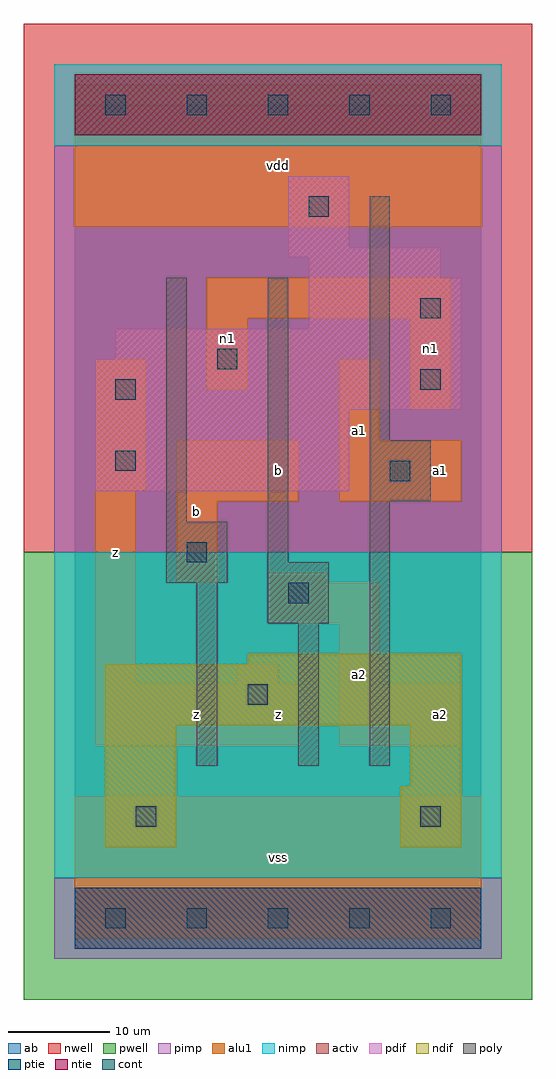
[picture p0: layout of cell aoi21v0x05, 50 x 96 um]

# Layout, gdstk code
import gdstk
lib = gdstk.Library(unit=1e-6, precision=1e-09)
def R(c, l, rs):  # rectangles x0, y0, x1, y1
    for r in rs: c.add(gdstk.rectangle(r[:2], r[2:], *l))
def A(c, l, x, y, w, h, nx, ny, dx, dy):  # array of equal rectangles
    R(c, l, [(x+i*dx, y+j*dy, x+i*dx+w, y+j*dy+h) for i in range(nx) for j in range(ny)])
ndif = (3, 0)
pdif = (4, 0)
ntie = (5, 0)
ptie = (6, 0)
cont = (25, 0)
pwell = (41, 0)
nwell = (42, 0)
activ = (43, 0)
pimp = (44, 0)
nimp = (45, 0)
poly = (46, 0)
alu1 = (49, 0)
ab = (63, 0)

aoi21v0x05 = lib.new_cell('aoi21v0x05')
R(aoi21v0x05, ndif, [(3,7,10,19), (32,7,38,13), (33,13,38,19), (3,19,38,25), (17,25,38,26)])
R(aoi21v0x05, pdif, [(2,42,27,50), (2,50,38,55), (4,55,38,58), (23,58,38,63), (23,63,36,65), (21,65,36,66), (21,66,27,73)])
R(aoi21v0x05, ntie, [(0,77,40,83)])
R(aoi21v0x05, ptie, [(0,-3,40,3)])
A(aoi21v0x05, cont, 3, -1, 2, 2, 5, 2, 8, 80)
R(aoi21v0x05, cont, [(6,9,8,11), (34,9,36,11), (17,21,19,23), (21,31,23,33), (11,35,13,37), (31,43,33,45), (4,44,6,46), (4,51,6,53), (34,52,36,54), (14,54,16,56), (34,59,36,61), (23,69,25,71)])
R(aoi21v0x05, pwell, [(-5,-8,45,36)])
R(aoi21v0x05, nwell, [(-5,36,45,88)])
R(aoi21v0x05, activ, [(0,-3,40,3), (3,7,10,19), (32,7,38,13), (33,13,38,19), (3,19,38,25), (17,25,38,26), (2,42,27,50), (2,50,38,55), (4,55,38,58), (23,58,38,63), (23,63,36,65), (21,65,36,66), (21,66,27,73), (0,77,40,83)])
R(aoi21v0x05, pimp, [(-2,-4,42,4), (-2,36,42,76)])
R(aoi21v0x05, nimp, [(-2,4,42,36), (-2,76,42,84)])
R(aoi21v0x05, poly, [(12,15,14,33), (22,15,24,29), (29,15,31,41), (19,29,25,35), (9,33,15,39), (19,35,21,63), (9,39,11,63), (29,41,35,47), (29,47,31,71)])
R(aoi21v0x05, alu1, [(0,-2,40,12), (2,17,22,23), (26,17,38,23), (2,23,6,42), (16,23,20,25), (26,23,30,29), (19,29,30,33), (10,33,14,41), (19,33,25,34), (10,41,22,47), (26,41,38,47), (2,42,7,55), (26,47,30,55), (33,50,37,59), (13,52,17,59), (13,59,37,63), (0,68,40,82)])
R(aoi21v0x05, ab, [(0,0,40,80)])
aoi21v0x05.add(gdstk.Label('n1', (15,57), layer=49, texttype=0))
aoi21v0x05.add(gdstk.Label('n1', (35,56), layer=49, texttype=0))
aoi21v0x05.add(gdstk.Label('z', (4,36), layer=49, texttype=0))
aoi21v0x05.add(gdstk.Label('z', (12,20), layer=49, texttype=0))
aoi21v0x05.add(gdstk.Label('b', (12,40), layer=49, texttype=0))
aoi21v0x05.add(gdstk.Label('vss', (20,6), layer=49, texttype=0))
aoi21v0x05.add(gdstk.Label('z', (20,20), layer=49, texttype=0))
aoi21v0x05.add(gdstk.Label('a2', (28,24), layer=49, texttype=0))
aoi21v0x05.add(gdstk.Label('b', (20,44), layer=49, texttype=0))
aoi21v0x05.add(gdstk.Label('a1', (28,48), layer=49, texttype=0))
aoi21v0x05.add(gdstk.Label('vdd', (20,74), layer=49, texttype=0))
aoi21v0x05.add(gdstk.Label('a2', (36,20), layer=49, texttype=0))
aoi21v0x05.add(gdstk.Label('a1', (36,44), layer=49, texttype=0))

lib.write_gds('aoi21v0x05.gds')
